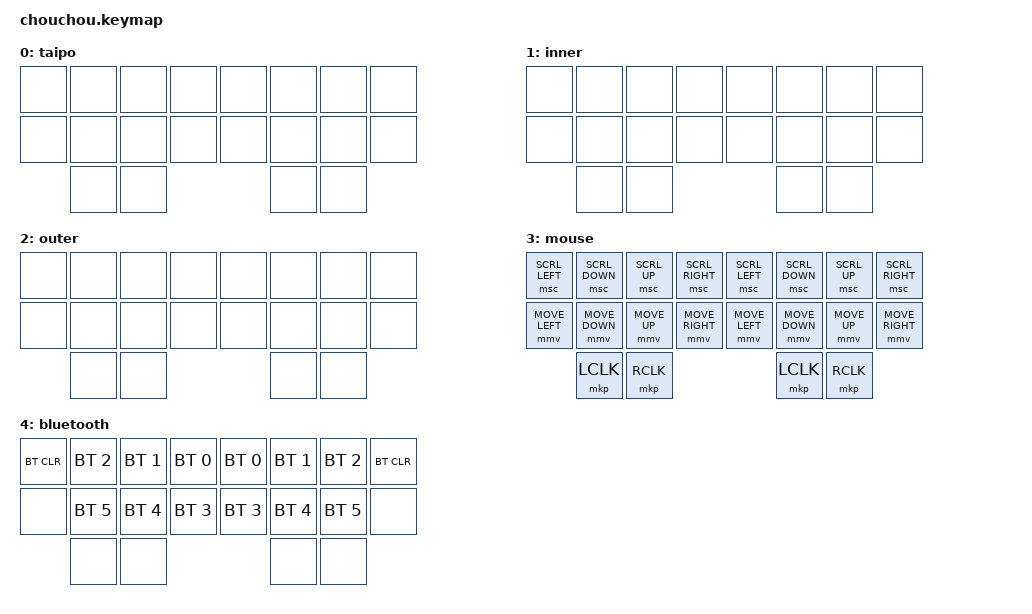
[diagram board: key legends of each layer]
/*
 * Chouchou - 20-key taipo keyboard
 */

#include <behaviors.dtsi>
#include <dt-bindings/zmk/keys.h>
#include <dt-bindings/zmk/bt.h>
#include <zmk-helpers/helper.h>

/*                              20 KEY MATRIX / LAYOUT MAPPING (Chouchou)

  ╭─────────────────╮ ╭─────────────────╮ ╭─────────────────╮ ╭─────────────────╮
  │  0   1   2   3  │ │  4   5   6   7  │ │ LT4 LT3 LT2 LT1 │ │ RT1 RT2 RT3 RT4 │
  │  8   9  10  11  │ │ 12  13  14  15  │ │ LM4 LM3 LM2 LM1 │ │ RM1 RM2 RM3 RM4 │
  ╰───╮ 16  17 ╭────╯ ╰────╮ 18  19 ╭───╯ ╰───╮ LH1 LH0 ╭───╯ ╰───╮ RH0 RH1 ╭───╯
      ╰────────╯           ╰────────╯         ╰─────────╯         ╰─────────╯ */

// Left hand top row (pinky to index)
#define LT4  0
#define LT3  1
#define LT2  2
#define LT1  3

// Right hand top row (index to pinky)
#define RT1  4
#define RT2  5
#define RT3  6
#define RT4  7

// Left hand middle row (pinky to index)
#define LM4  8
#define LM3  9
#define LM2 10
#define LM1 11

// Right hand middle row (index to pinky)
#define RM1 12
#define RM2 13
#define RM3 14
#define RM4 15

// Thumbs: inner then outer for left, outer then inner for right
#define LH1 16  // left inner thumb (GP11)
#define LH0 17  // left outer thumb (GP10)
#define RH0 18  // right outer thumb (GP9)
#define RH1 19  // right inner thumb (GP8)

#undef TAIPO
#undef TAIPO_INNER
#undef TAIPO_OUTER
#define TAIPO 0
//#define TAIPO_INNER 1
//#define TAIPO_OUTER 2
#define TAIPO_THUMB_ORDER_OIIO 1
#include <zmk-taipo/taipo.dtsi>
//#include <zmk-taipo/features/virtual_thumbs.dtsi>

#include "../../../mouse.dtsi"

#define MOUSE 3
#define BLUETOOTH 4

ZMK_LAYER(taipo,
    // ╭─────────────┬─────────────┬─────────────┬─────────────╮   ╭─────────────┬─────────────┬─────────────┬─────────────╮
         &none         &none         &none         &none             &none         &none         &none         &none
    // ├─────────────┼─────────────┼─────────────┼─────────────┤   ├─────────────┼─────────────┼─────────────┼─────────────┤
         &none         &none         &none         &none             &none         &none         &none         &none
    // ╰─────────────┼─────────────┼─────────────┼─────────────╯   ╰─────────────┼─────────────┼─────────────┼─────────────╯
                       &none         &none                                         &none         &none
    //               ╰─────────────┴─────────────╯                               ╰─────────────┴─────────────╯
)
ZMK_COMBO(tog_mouse, &tog MOUSE, LT1 LM2 LT3, TAIPO MOUSE, COMBO_TERM_FAST)
ZMK_COMBO(tog_bluetooth, &tog BLUETOOTH, LT1 LM2 LM3 LT4, TAIPO BLUETOOTH, COMBO_TERM_FAST)

ZMK_LAYER(inner,
    // ╭─────────────┬─────────────┬─────────────┬─────────────╮   ╭─────────────┬─────────────┬─────────────┬─────────────╮
         &none         &none         &none         &none             &none         &none         &none         &none
    // ├─────────────┼─────────────┼─────────────┼─────────────┤   ├─────────────┼─────────────┼─────────────┼─────────────┤
         &none         &none         &none         &none             &none         &none         &none         &none
    // ╰─────────────┼─────────────┼─────────────┼─────────────╯   ╰─────────────┼─────────────┼─────────────┼─────────────╯
                       &none         &none                                         &none         &none
    //               ╰─────────────┴─────────────╯                               ╰─────────────┴─────────────╯
)

ZMK_LAYER(outer,
    // ╭─────────────┬─────────────┬─────────────┬─────────────╮   ╭─────────────┬─────────────┬─────────────┬─────────────╮
         &none         &none         &none         &none             &none         &none         &none         &none
    // ├─────────────┼─────────────┼─────────────┼─────────────┤   ├─────────────┼─────────────┼─────────────┼─────────────┤
         &none         &none         &none         &none             &none         &none         &none         &none
    // ╰─────────────┼─────────────┼─────────────┼─────────────╯   ╰─────────────┼─────────────┼─────────────┼─────────────╯
                       &none         &none                                         &none         &none
    //               ╰─────────────┴─────────────╯                               ╰─────────────┴─────────────╯
)

ZMK_LAYER(mouse,
    // ╭─────────────┬─────────────┬─────────────┬─────────────╮   ╭─────────────┬─────────────┬─────────────┬─────────────╮
         &msc SCRL_LEFT &msc SCRL_DOWN &msc SCRL_UP &msc SCRL_RIGHT  &msc SCRL_LEFT &msc SCRL_DOWN &msc SCRL_UP &msc SCRL_RIGHT
    // ├─────────────┼─────────────┼─────────────┼─────────────┤   ├─────────────┼─────────────┼─────────────┼─────────────┤
         &mmv MOVE_LEFT &mmv MOVE_DOWN &mmv MOVE_UP &mmv MOVE_RIGHT  &mmv MOVE_LEFT &mmv MOVE_DOWN &mmv MOVE_UP &mmv MOVE_RIGHT
    // ╰─────────────┼─────────────┼─────────────┼─────────────╯   ╰─────────────┼─────────────┼─────────────┼─────────────╯
                       &mkp LCLK     &mkp RCLK                                     &mkp LCLK     &mkp RCLK
    //               ╰─────────────┴─────────────╯                               ╰─────────────┴─────────────╯
)
ZMK_COMBO(middle_click_l, &mkp MCLK, LH0 LH1, MOUSE, COMBO_TERM_FAST)
ZMK_COMBO(middle_click_r, &mkp MCLK, RH0 RH1, MOUSE, COMBO_TERM_FAST)

ZMK_LAYER(bluetooth,
    // ╭─────────────┬─────────────┬─────────────┬─────────────╮   ╭─────────────┬─────────────┬─────────────┬─────────────╮
         &bt BT_CLR    &bt BT_SEL 2  &bt BT_SEL 1  &bt BT_SEL 0      &bt BT_SEL 0  &bt BT_SEL 1  &bt BT_SEL 2  &bt BT_CLR
    // ├─────────────┼─────────────┼─────────────┼─────────────┤   ├─────────────┼─────────────┼─────────────┼─────────────┤
         &none         &bt BT_SEL 5  &bt BT_SEL 4  &bt BT_SEL 3      &bt BT_SEL 3  &bt BT_SEL 4  &bt BT_SEL 5  &none
    // ╰─────────────┼─────────────┼─────────────┼─────────────╯   ╰─────────────┼─────────────┼─────────────┼─────────────╯
                       &none         &none                                         &none         &none
    //               ╰─────────────┴─────────────╯                               ╰─────────────┴─────────────╯
)

/* vim: set tw=180 ft=c: */
